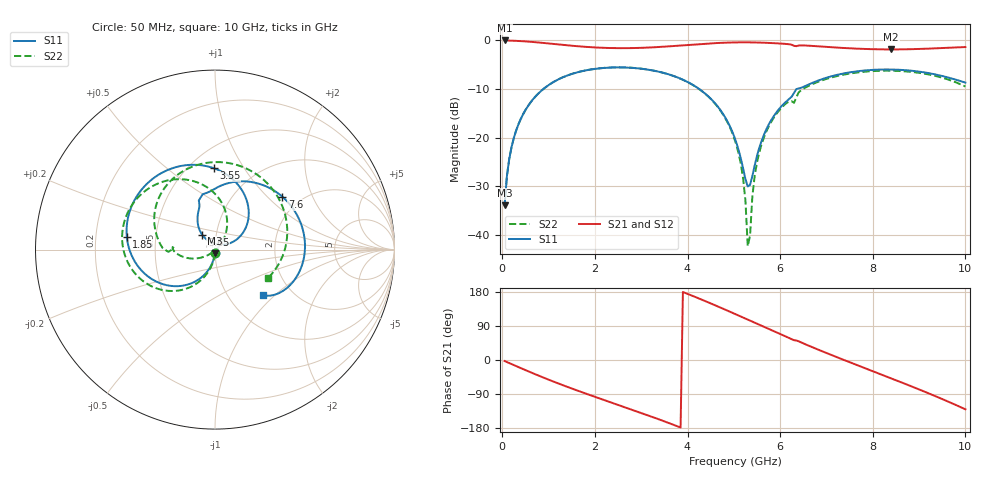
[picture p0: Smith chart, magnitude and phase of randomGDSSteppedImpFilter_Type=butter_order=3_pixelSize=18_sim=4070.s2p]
! freq	dB(S11)	phase(S11)	dB(S12)	phase(S12)
!  dB(S21)	phase(S21)	dB(S22)	phase(S22)
!S-par simulation data
#  GHz  S  DB  R 50
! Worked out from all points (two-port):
!   200 points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, 50 MHz to 10 GHz, reference 50 ohm
!   highest |S21| = -0.01 dB at 50 MHz (marker M1); lowest = -1.8 dB at 8.4 GHz (marker M2)
!   |S21| within 3 dB of the highest: start of sweep to end of sweep
!   lowest |S11| = -33.9 dB at 50 MHz (marker M3), VSWR 1.04, Z = 49.9 - j2.01 ohm
!   |S11| at or under -10 dB: start of sweep to 886.9 MHz; 4.253 GHz to 6.357 GHz (2.104 GHz wide, 39.7 % of centre)
!   |S22| runs from -42.3 to -5.5 dB; largest |S21 - S12| = 0
!   S11 on the Smith chart (normalised r, x): 50 MHz: 1.00, -0.04; 1.85 GHz: 0.34, +0.07; 3.55 GHz: 0.65, +0.74; 5.65 GHz: 0.86, +0.14; 7.6 GHz: 1.62, +1.24; 10 GHz: 1.44, -0.84
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0.05  -33.89 -92.9  -0.01 -2.7  -0.01 -2.7  -33.89 -92.5
0.2  -21.93 -102.0  -0.05 -10.8  -0.05 -10.8  -21.93 -100.5
0.5  -14.33 -119.1  -0.20 -26.7  -0.20 -26.7  -14.32 -115.4
1.1  -8.59 -151.4  -0.72 -56.7  -0.72 -56.7  -8.58 -143.0
1.75  -6.27 176.4  -1.29 -86.3  -1.29 -86.3  -6.26 -170.1
1.85  -6.08 171.6  -1.35 -90.7  -1.35 -90.7  -6.07 -174.1
3.4  -6.48 98.4  -1.34 -157.3  -1.34 -157.3  -6.48 126.7
3.55  -6.86 91.0  -1.25 -164.2  -1.25 -164.2  -6.86 120.6
4.3  -10.33 52.7  -0.73 159.6  -0.73 159.6  -10.36 88.7
5.05  -20.90 23.2  -0.40 120.2  -0.40 120.2  -21.36 52.6
5.2  -26.33 34.0  -0.39 112.1  -0.39 112.1  -28.36 42.6
5.25  -28.52 46.8  -0.39 109.4  -0.39 109.4  -32.94 36.5
5.3  -30.05 68.4  -0.39 106.7  -0.39 106.7  -42.34 7.9
5.35  -29.74 93.6  -0.40 104.0  -0.40 104.0  -40.19 -116.1
5.45  -25.72 122.8  -0.41 98.5  -0.41 98.5  -27.90 -139.5
5.65  -19.40 130.9  -0.47 87.7  -0.47 87.7  -19.96 -152.0
6.7  -8.71 82.1  -1.13 33.5  -1.13 33.5  -8.98 160.2
7.6  -6.43 38.1  -1.67 -10.6  -1.67 -10.6  -6.68 118.2
8.35  -5.98 5.4  -1.85 -46.2  -1.85 -46.2  -6.23 81.7
8.4  -5.98 3.3  -1.85 -48.6  -1.85 -48.6  -6.23 79.1
9.25  -6.80 -27.2  -1.67 -90.2  -1.67 -90.2  -7.09 30.2
10  -8.67 -43.4  -1.36 -130.1  -1.36 -130.1  -9.49 -27.7
